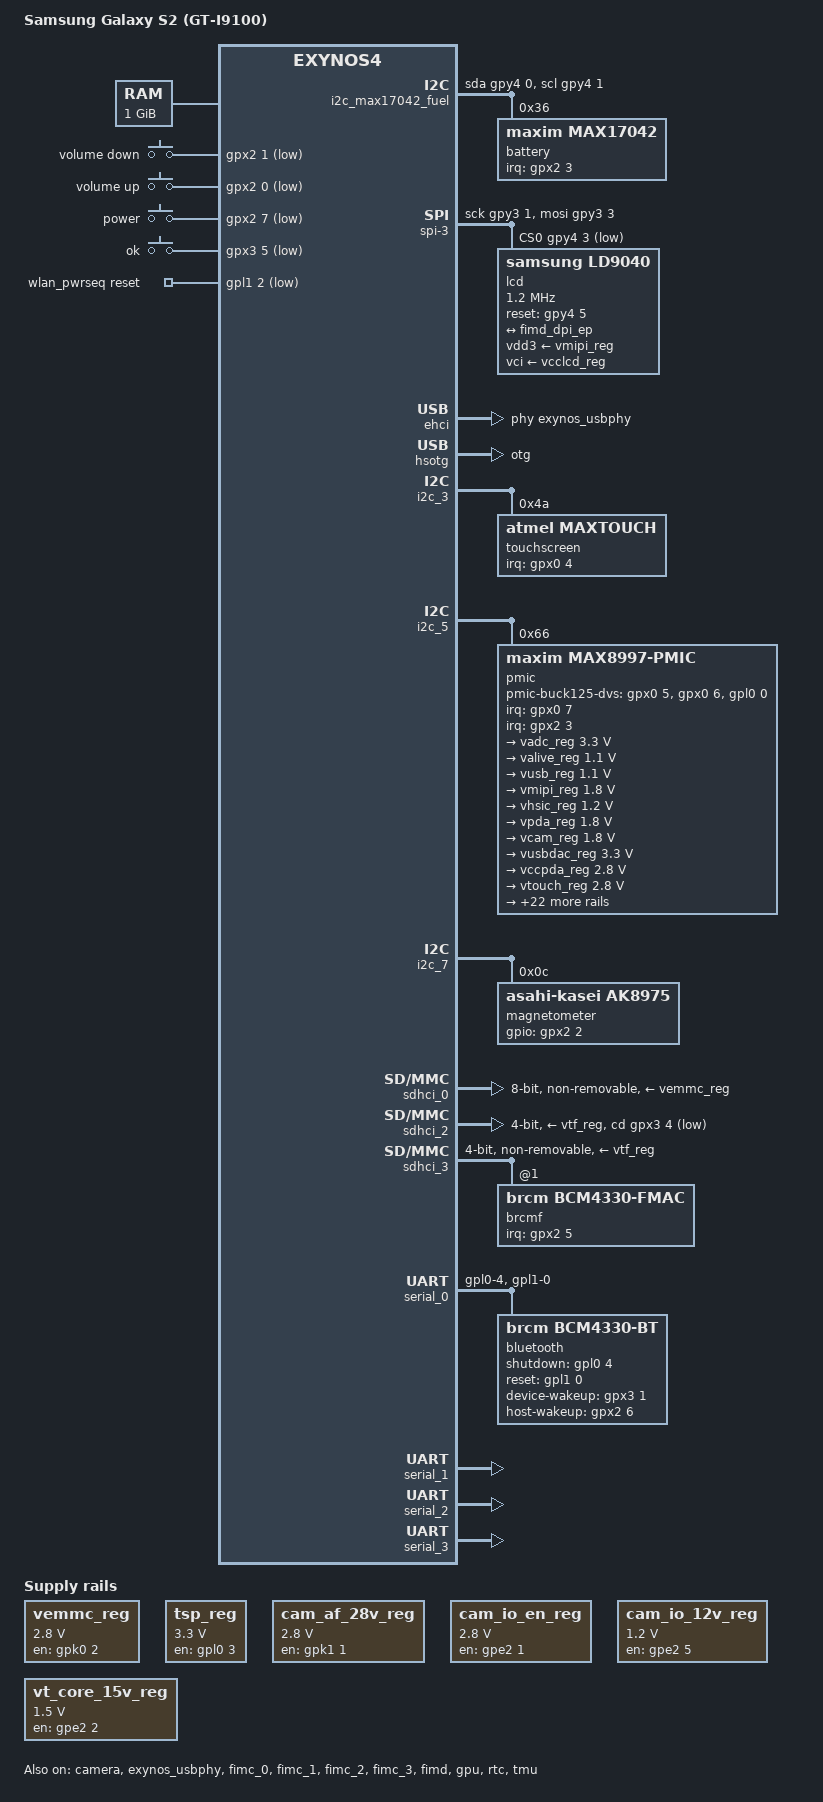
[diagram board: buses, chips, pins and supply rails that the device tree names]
// SPDX-License-Identifier: GPL-2.0
/*
 * Samsung's Exynos4210 based Galaxy S2 (GT-I9100 version) device tree
 *
 * Copyright (c) 2012 Samsung Electronics Co., Ltd.
 *		http://www.samsung.com
 * Copyright (c) 2020 Stenkin Evgeniy <stenkinevgeniy@gmail.com>
 * Copyright (c) 2020 Paul Cercueil <paul@crapouillou.net>
 */

/dts-v1/;
#include "exynos4210.dtsi"
#include "exynos4412-ppmu-common.dtsi"

#include <dt-bindings/gpio/gpio.h>
#include <dt-bindings/input/linux-event-codes.h>

/ {
	model = "Samsung Galaxy S2 (GT-I9100)";
	compatible = "samsung,i9100", "samsung,exynos4210", "samsung,exynos4";

	memory@40000000 {
		device_type = "memory";
		reg = <0x40000000 0x40000000>;
	};

	chosen {
		stdout-path = "serial2:115200n8";
	};

	vemmc_reg: regulator-0 {
		compatible = "regulator-fixed";
		regulator-name = "VMEM_VDD_2.8V";
		regulator-min-microvolt = <2800000>;
		regulator-max-microvolt = <2800000>;
		gpio = <&gpk0 2 GPIO_ACTIVE_HIGH>;
		enable-active-high;
	};

	tsp_reg: regulator-1 {
		compatible = "regulator-fixed";
		regulator-name = "TSP_FIXED_VOLTAGES";
		regulator-min-microvolt = <3300000>;
		regulator-max-microvolt = <3300000>;
		gpio = <&gpl0 3 GPIO_ACTIVE_HIGH>;
		startup-delay-us = <70000>;
		enable-active-high;
		regulator-boot-on;
		regulator-always-on;
	};

	cam_af_28v_reg: regulator-2 {
		compatible = "regulator-fixed";
		regulator-name = "8M_AF_2.8V_EN";
		regulator-min-microvolt = <2800000>;
		regulator-max-microvolt = <2800000>;
		gpio = <&gpk1 1 GPIO_ACTIVE_HIGH>;
		enable-active-high;
	};

	cam_io_en_reg: regulator-3 {
		compatible = "regulator-fixed";
		regulator-name = "CAM_IO_EN";
		regulator-min-microvolt = <2800000>;
		regulator-max-microvolt = <2800000>;
		gpio = <&gpe2 1 GPIO_ACTIVE_HIGH>;
		enable-active-high;
	};

	cam_io_12v_reg: regulator-4 {
		compatible = "regulator-fixed";
		regulator-name = "8M_1.2V_EN";
		regulator-min-microvolt = <1200000>;
		regulator-max-microvolt = <1200000>;
		gpio = <&gpe2 5 GPIO_ACTIVE_HIGH>;
		enable-active-high;
	};

	vt_core_15v_reg: regulator-5 {
		compatible = "regulator-fixed";
		regulator-name = "VT_CORE_1.5V";
		regulator-min-microvolt = <1500000>;
		regulator-max-microvolt = <1500000>;
		gpio = <&gpe2 2 GPIO_ACTIVE_HIGH>;
		enable-active-high;
	};

	gpio-keys {
		compatible = "gpio-keys";

		vol-down {
			gpios = <&gpx2 1 GPIO_ACTIVE_LOW>;
			linux,code = <KEY_VOLUMEDOWN>;
			label = "volume down";
			debounce-interval = <10>;
		};

		vol-up {
			gpios = <&gpx2 0 GPIO_ACTIVE_LOW>;
			linux,code = <KEY_VOLUMEUP>;
			label = "volume up";
			debounce-interval = <10>;
		};

		power {
			gpios = <&gpx2 7 GPIO_ACTIVE_LOW>;
			linux,code = <KEY_POWER>;
			label = "power";
			debounce-interval = <10>;
			wakeup-source;
		};

		ok {
			gpios = <&gpx3 5 GPIO_ACTIVE_LOW>;
			linux,code = <KEY_OK>;
			label = "ok";
			debounce-interval = <10>;
		};
	};

	wlan_pwrseq: sdhci3-pwrseq {
		compatible = "mmc-pwrseq-simple";
		reset-gpios = <&gpl1 2 GPIO_ACTIVE_LOW>;
	};

	i2c_max17042_fuel: i2c-gpio-0 {
		compatible = "i2c-gpio";
		#address-cells = <1>;
		#size-cells = <0>;

		sda-gpios = <&gpy4 0 (GPIO_ACTIVE_HIGH | GPIO_OPEN_DRAIN)>;
		scl-gpios = <&gpy4 1 (GPIO_ACTIVE_HIGH | GPIO_OPEN_DRAIN)>;
		i2c-gpio,delay-us = <5>;

		battery@36 {
			compatible = "maxim,max17042";

			interrupt-parent = <&gpx2>;
			interrupts = <3 IRQ_TYPE_EDGE_FALLING>;

			pinctrl-0 = <&max17042_fuel_irq>;
			pinctrl-names = "default";

			reg = <0x36>;
			maxim,over-heat-temp = <700>;
			maxim,over-volt = <4500>;
		};
	};

	spi-3 {
		compatible = "spi-gpio";
		#address-cells = <1>;
		#size-cells = <0>;

		num-chipselects = <1>;
		cs-gpios = <&gpy4 3 GPIO_ACTIVE_LOW>;
		sck-gpios = <&gpy3 1 GPIO_ACTIVE_HIGH>;
		mosi-gpios = <&gpy3 3 GPIO_ACTIVE_HIGH>;

		lcd@0 {
			compatible = "samsung,ld9040";
			reg = <0>;

			spi-max-frequency = <1200000>;

			vdd3-supply = <&vmipi_reg>;
			vci-supply = <&vcclcd_reg>;

			reset-gpios = <&gpy4 5 GPIO_ACTIVE_HIGH>;
			power-on-delay = <10>;
			reset-delay = <10>;

			panel-width-mm = <90>;
			panel-height-mm = <154>;

			display-timings {
				timing {
					clock-frequency = <23492370>;
					hactive = <480>;
					vactive = <800>;
					hback-porch = <16>;
					hfront-porch = <16>;
					vback-porch = <2>;
					vfront-porch = <28>;
					hsync-len = <2>;
					vsync-len = <1>;
					hsync-active = <0>;
					vsync-active = <0>;
					de-active = <0>;
					pixelclk-active = <0>;
				};
			};

			port {
				lcd_ep: endpoint {
					remote-endpoint = <&fimd_dpi_ep>;
				};
			};
		};
	};

	fixed-rate-clocks {
		xxti {
			compatible = "samsung,clock-xxti";
			clock-frequency = <0>;
		};

		xusbxti {
			compatible = "samsung,clock-xusbxti";
			clock-frequency = <24000000>;
		};

		pmic_ap_clk: pmic-ap-clk {
			/* Workaround for missing clock on max8997 PMIC */
			compatible = "fixed-clock";
			#clock-cells = <0>;
			clock-frequency = <32768>;
		};
	};
};

&camera {
	status = "okay";
};

&cpu0 {
	cpu0-supply = <&varm_breg>;
};

&cpu_thermal {
	cooling-maps {
		map0 {
			/* Corresponds to 800MHz */
			cooling-device = <&cpu0 2 2>;
		};
		map1 {
			/* Corresponds to 200MHz */
			cooling-device = <&cpu0 4 4>;
		};
	};
};

&ehci {
	status = "okay";

	phys = <&exynos_usbphy 1>;
	phy-names = "host";
};

&exynos_usbphy {
	status = "okay";

	vbus-supply = <&safe1_sreg>;
};

&fimc_0 {
	status = "okay";

	assigned-clocks = <&clock CLK_MOUT_FIMC0>, <&clock CLK_SCLK_FIMC0>;
	assigned-clock-parents = <&clock CLK_SCLK_MPLL>;
	assigned-clock-rates = <0>, <160000000>;
};

&fimc_1 {
	status = "okay";

	assigned-clocks = <&clock CLK_MOUT_FIMC1>, <&clock CLK_SCLK_FIMC1>;
	assigned-clock-parents = <&clock CLK_SCLK_MPLL>;
	assigned-clock-rates = <0>, <160000000>;
};

&fimc_2 {
	status = "okay";

	assigned-clocks = <&clock CLK_MOUT_FIMC2>, <&clock CLK_SCLK_FIMC2>;
	assigned-clock-parents = <&clock CLK_SCLK_MPLL>;
	assigned-clock-rates = <0>, <160000000>;
};

&fimc_3 {
	status = "okay";

	assigned-clocks = <&clock CLK_MOUT_FIMC3>, <&clock CLK_SCLK_FIMC3>;
	assigned-clock-parents = <&clock CLK_SCLK_MPLL>;
	assigned-clock-rates = <0>, <160000000>;
};

&fimd {
	status = "okay";
	#address-cells = <1>;
	#size-cells = <0>;

	samsung,invert-vden;
	samsung,invert-vclk;

	pinctrl-0 = <&lcd_clk>, <&lcd_data24>;
	pinctrl-names = "default";

	port@3 {
		reg = <3>;

		fimd_dpi_ep: endpoint {
			remote-endpoint = <&lcd_ep>;
		};
	};
};

&gpu {
	status = "okay";

	mali-supply = <&vg3d_breg>;
};

&hsotg {
	status = "okay";

	dr_mode = "otg";
	vusb_d-supply = <&vusb_reg>;
	vusb_a-supply = <&vusbdac_reg>;
};

&i2c_3 {
	status = "okay";

	samsung,i2c-sda-delay = <100>;
	samsung,i2c-slave-addr = <0x10>;
	samsung,i2c-max-bus-freq = <100000>;

	pinctrl-0 = <&i2c3_bus>;
	pinctrl-names = "default";

	touchscreen@4a {
		compatible = "atmel,maxtouch";
		reg = <0x4a>;

		interrupt-parent = <&gpx0>;
		interrupts = <4 IRQ_TYPE_EDGE_FALLING>;
	};
};

&i2c_5 {
	status = "okay";

	samsung,i2c-sda-delay = <100>;
	samsung,i2c-slave-addr = <0x10>;
	samsung,i2c-max-bus-freq = <100000>;

	pinctrl-0 = <&i2c5_bus>;
	pinctrl-names = "default";

	pmic@66 {
		compatible = "maxim,max8997-pmic";
		reg = <0x66>;

		interrupts-extended = <&gpx0 7 IRQ_TYPE_NONE>,
				      <&gpx2 3 IRQ_TYPE_EDGE_FALLING>;

		max8997,pmic-buck1-uses-gpio-dvs;
		max8997,pmic-buck2-uses-gpio-dvs;
		max8997,pmic-buck5-uses-gpio-dvs;

		max8997,pmic-ignore-gpiodvs-side-effect;
		max8997,pmic-buck125-default-dvs-idx = <0>;

		max8997,pmic-buck125-dvs-gpios = <&gpx0 5 GPIO_ACTIVE_HIGH>,
						 <&gpx0 6 GPIO_ACTIVE_HIGH>,
						 <&gpl0 0 GPIO_ACTIVE_HIGH>;

		max8997,pmic-buck1-dvs-voltage = <1350000>, <1300000>,
						 <1250000>, <1200000>,
						 <1150000>, <1100000>,
						 <1000000>, <950000>;

		max8997,pmic-buck2-dvs-voltage = <1100000>, <1000000>,
						 <950000>,  <900000>,
						 <1100000>, <1000000>,
						 <950000>,  <900000>;

		max8997,pmic-buck5-dvs-voltage = <1200000>, <1200000>,
						 <1200000>, <1200000>,
						 <1200000>, <1200000>,
						 <1200000>, <1200000>;

		pinctrl-0 = <&max8997_irq>, <&otg_gp>, <&usb_sel>;
		pinctrl-names = "default";

		regulators {
			vadc_reg: LDO1 {
				regulator-name = "VADC_3.3V_C210";
				regulator-min-microvolt = <3300000>;
				regulator-max-microvolt = <3300000>;
				regulator-always-on;

			};
			valive_reg: LDO2 {
				regulator-name = "VALIVE_1.1V_C210";
				regulator-min-microvolt = <1100000>;
				regulator-max-microvolt = <1100000>;
				regulator-always-on;

			};

			vusb_reg: LDO3 {
				regulator-name = "VUSB_1.1V_C210";
				regulator-min-microvolt = <1100000>;
				regulator-max-microvolt = <1100000>;
			};

			vmipi_reg: LDO4 {
				regulator-name = "VMIPI_1.8V";
				regulator-min-microvolt = <1800000>;
				regulator-max-microvolt = <1800000>;
				regulator-always-on;
			};

			vhsic_reg: LDO5 {
				regulator-name = "VHSIC_1.2V";
				regulator-min-microvolt = <1200000>;
				regulator-max-microvolt = <1200000>;
				regulator-always-on;
			};

			vpda_reg: LDO6 {
				regulator-name = "VCC_1.8V_PDA";
				regulator-min-microvolt = <1800000>;
				regulator-max-microvolt = <1800000>;
				regulator-always-on;
			};

			vcam_reg: LDO7 {
				regulator-name = "CAM_ISP_1.8V";
				regulator-min-microvolt = <1800000>;
				regulator-max-microvolt = <1800000>;
			};

			vusbdac_reg: LDO8 {
				regulator-name = "VUSB+VDAC_3.3V_C210";
				regulator-min-microvolt = <3300000>;
				regulator-max-microvolt = <3300000>;
			};

			vccpda_reg: LDO9 {
				regulator-name = "VCC_2.8V_PDA";
				regulator-min-microvolt = <2800000>;
				regulator-max-microvolt = <2800000>;
				regulator-always-on;
			};

			vtouch_reg: LDO11 {
				regulator-name = "TOUCH_2.8V";
				regulator-min-microvolt = <2800000>;
				regulator-max-microvolt = <2800000>;
				regulator-always-on;
			};

			vpll_reg: LDO10 {
				regulator-name = "VPLL_1.1V";
				regulator-min-microvolt = <1100000>;
				regulator-max-microvolt = <1100000>;
				regulator-always-on;
			};

			vtcam_reg: LDO12 {
				regulator-name = "VT_CAM_1.8V";
				regulator-min-microvolt = <1800000>;
				regulator-max-microvolt = <1800000>;
			};

			vcclcd_reg: LDO13 {
				regulator-name = "VCC_3.0V_LCD";
				regulator-min-microvolt = <3000000>;
				regulator-max-microvolt = <3000000>;
			};

			vmotor_reg: LDO14 {
				regulator-name = "VCC_2.8V_MOTOR";
				regulator-min-microvolt = <2800000>;
				regulator-max-microvolt = <2800000>;
			};

			vled_reg: LDO15 {
				regulator-name = "LED_A_2.8V";
				regulator-min-microvolt = <2800000>;
				regulator-max-microvolt = <2800000>;
			};

			camsensor_reg: LDO16 {
				regulator-name = "CAM_SENSOR_IO_1.8V";
				regulator-min-microvolt = <1800000>;
				regulator-max-microvolt = <1800000>;
			};

			vtf_reg: LDO17 {
				regulator-name = "VTF_2.8V";
				regulator-min-microvolt = <2800000>;
				regulator-max-microvolt = <2800000>;
			};

			vtouchled_reg: LDO18 {
				regulator-name = "TOUCH_LED_3.3V";
				regulator-min-microvolt = <2500000>;
				regulator-max-microvolt = <3300000>;
			};

			vddq_reg: LDO21 {
				regulator-name = "VDDQ_M1M2_1.2V";
				regulator-min-microvolt = <1200000>;
				regulator-max-microvolt = <1200000>;
				regulator-always-on;
			};

			varm_breg: BUCK1 {
				regulator-name = "VARM_1.2V_C210";
				regulator-min-microvolt = <65000>;
				regulator-max-microvolt = <2225000>;
				regulator-always-on;
			};

			vint_breg: BUCK2 {
				regulator-name = "VINT_1.1V_C210";
				regulator-min-microvolt = <65000>;
				regulator-max-microvolt = <2225000>;
				regulator-always-on;
			};

			vg3d_breg: BUCK3 {
				regulator-name = "G3D_1.1V";
				regulator-min-microvolt = <900000>;
				regulator-max-microvolt = <1200000>;
				regulator-microvolt-offset = <50000>;
				regulator-always-on;
			};

			camisp_breg: BUCK4 {
				regulator-name = "CAM_ISP_CORE_1.2V";
				regulator-min-microvolt = <1200000>;
				regulator-max-microvolt = <1200000>;
			};

			vmem_breg: BUCK5 {
				regulator-name = "VMEM_1.2V";
				regulator-min-microvolt = <1200000>;
				regulator-max-microvolt = <1200000>;
				regulator-always-on;
			};

			vccsub_breg: BUCK7 {
				regulator-name = "VCC_SUB_2.0V";
				regulator-min-microvolt = <2000000>;
				regulator-max-microvolt = <2000000>;
				regulator-always-on;
			};

			safe1_sreg: ESAFEOUT1 {
				regulator-name = "SAFEOUT1";
			};

			safe2_sreg: ESAFEOUT2 {
				regulator-name = "SAFEOUT2";
				regulator-boot-on;
			};

			EN32KHZ_AP {
				regulator-name = "EN32KHZ_AP";
				regulator-always-on;
			};

			EN32KHZ_CP {
				regulator-name = "EN32KHZ_CP";
				regulator-always-on;
			};

			charger_reg: CHARGER {
				regulator-name = "CHARGER";
				regulator-min-microamp = <200000>;
				regulator-max-microamp = <950000>;
			};

			chargercv_reg: CHARGER_CV {
				regulator-name = "CHARGER_CV";
				regulator-min-microvolt = <4200000>;
				regulator-max-microvolt = <4200000>;
				regulator-always-on;
			};

			CHARGER_TOPOFF {
				regulator-name = "CHARGER_TOPOFF";
				regulator-min-microamp = <200000>;
				regulator-max-microamp = <200000>;
				regulator-always-on;
			};
		};
	};
};

&i2c_7 {
	status = "okay";

	samsung,i2c-sda-delay = <100>;
	samsung,i2c-slave-addr = <0x10>;
	samsung,i2c-max-bus-freq = <400000>;

	pinctrl-0 = <&i2c7_bus>;
	pinctrl-names = "default";

	magnetometer@c {
		compatible = "asahi-kasei,ak8975";
		reg = <0x0c>;

		gpios = <&gpx2 2 GPIO_ACTIVE_HIGH>;
	};
};

&pinctrl_0 {
	pinctrl-names = "default";
	pinctrl-0 = <&sleep0>;

	sleep0: sleep-states {
		gpa0-0 {
			samsung,pins = "gpa0-0";
			samsung,pin-con-pdn = <EXYNOS_PIN_PDN_INPUT>;
			samsung,pin-pud-pdn = <EXYNOS_PIN_PULL_NONE>;
		};

		gpa0-1 {
			samsung,pins = "gpa0-1";
			samsung,pin-con-pdn = <EXYNOS_PIN_PDN_OUT0>;
			samsung,pin-pud-pdn = <EXYNOS_PIN_PULL_NONE>;
		};

		gpa0-2 {
			samsung,pins = "gpa0-2";
			samsung,pin-con-pdn = <EXYNOS_PIN_PDN_INPUT>;
			samsung,pin-pud-pdn = <EXYNOS_PIN_PULL_NONE>;
		};

		gpa0-3 {
			samsung,pins = "gpa0-3";
			samsung,pin-con-pdn = <EXYNOS_PIN_PDN_OUT1>;
			samsung,pin-pud-pdn = <EXYNOS_PIN_PULL_NONE>;
		};
	};
};

&pinctrl_1 {
	mhl_int: mhl-int {
		samsung,pins = "gpf3-5";
		samsung,pin-pud = <EXYNOS_PIN_PULL_NONE>;
	};

	i2c_mhl_bus: i2c-mhl-bus {
		samsung,pins = "gpf0-4", "gpf0-6";
		samsung,pin-function = <EXYNOS_PIN_FUNC_2>;
		samsung,pin-pud = <EXYNOS_PIN_PULL_DOWN>;
		samsung,pin-drv = <EXYNOS4_PIN_DRV_LV1>;
	};

	usb_sel: usb-sel {
		samsung,pins = "gpl0-6";
		samsung,pin-function = <EXYNOS_PIN_FUNC_OUTPUT>;
		samsung,pin-pud = <EXYNOS_PIN_PULL_NONE>;
		samsung,pin-drv = <EXYNOS4_PIN_DRV_LV1>;
		samsung,pin-val = <0>;
	};

	bt_en: bt-en {
		samsung,pins = "gpl0-4";
		samsung,pin-function = <EXYNOS_PIN_FUNC_OUTPUT>;
		samsung,pin-pud = <EXYNOS_PIN_PULL_NONE>;
		samsung,pin-drv = <EXYNOS4_PIN_DRV_LV4>;
		samsung,pin-val = <0>;
	};

	bt_res: bt-res {
		samsung,pins = "gpl1-0";
		samsung,pin-function = <EXYNOS_PIN_FUNC_OUTPUT>;
		samsung,pin-pud = <EXYNOS_PIN_PULL_NONE>;
		samsung,pin-drv = <EXYNOS4_PIN_DRV_LV4>;
		samsung,pin-val = <0>;
	};

	otg_gp: otg-gp {
		samsung,pins = "gpx3-3";
		samsung,pin-function = <EXYNOS_PIN_FUNC_OUTPUT>;
		samsung,pin-pud = <EXYNOS_PIN_PULL_NONE>;
		samsung,pin-drv = <EXYNOS4_PIN_DRV_LV1>;
		samsung,pin-val = <0>;
	};

	mag_mhl_gpio: mag-mhl {
		samsung,pins = "gpd0-2";
		samsung,pin-function = <EXYNOS_PIN_FUNC_3>;
		samsung,pin-pud = <EXYNOS_PIN_PULL_NONE>;
	};

	max8997_irq: max8997-irq {
		samsung,pins = "gpx0-7";
		samsung,pin-pud = <EXYNOS_PIN_PULL_NONE>;
	};

	max17042_fuel_irq: max17042-fuel-irq {
		samsung,pins = "gpx2-3";
		samsung,pin-pud = <EXYNOS_PIN_PULL_NONE>;
	};

	tsp224_irq: tsp224-irq {
		samsung,pins = "gpx0-4";
		samsung,pin-pud = <EXYNOS_PIN_PULL_UP>;
	};
};

&rtc {
	status = "okay";
	clocks = <&clock CLK_RTC>, <&pmic_ap_clk>;
	clock-names = "rtc", "rtc_src";
};

&sdhci_0 {
	status = "okay";

	bus-width = <8>;
	non-removable;
	vmmc-supply = <&vemmc_reg>;

	pinctrl-0 = <&sd0_clk>, <&sd0_cmd>, <&sd0_bus8>;
	pinctrl-names = "default";
};

&sdhci_2 {
	status = "okay";

	bus-width = <4>;
	cd-gpios = <&gpx3 4 GPIO_ACTIVE_LOW>;
	vmmc-supply = <&vtf_reg>;

	pinctrl-0 = <&sd2_clk>, <&sd2_cmd>, <&sd2_bus4>;
	pinctrl-names = "default";
};

&sdhci_3 {
	status = "okay";

	#address-cells = <1>;
	#size-cells = <0>;

	non-removable;
	bus-width = <4>;
	mmc-pwrseq = <&wlan_pwrseq>;
	vmmc-supply = <&vtf_reg>;

	pinctrl-names = "default";
	pinctrl-0 = <&sd3_clk>, <&sd3_cmd>, <&sd3_bus4>;

	brcmf: wifi@1 {
		compatible = "brcm,bcm4330-fmac";
		reg = <1>;

		interrupt-parent = <&gpx2>;
		interrupts = <5 IRQ_TYPE_LEVEL_HIGH>;
		interrupt-names = "host-wake";
	};
};

&serial_0 {
	status = "okay";

	pinctrl-names = "default";
	pinctrl-0 = <&bt_en>, <&bt_res>, <&uart0_data>, <&uart0_fctl>;

	bluetooth {
		compatible = "brcm,bcm4330-bt";

		shutdown-gpios = <&gpl0 4 GPIO_ACTIVE_HIGH>;
		reset-gpios = <&gpl1 0 GPIO_ACTIVE_HIGH>;
		device-wakeup-gpios = <&gpx3 1 GPIO_ACTIVE_HIGH>;
		host-wakeup-gpios = <&gpx2 6 GPIO_ACTIVE_HIGH>;
	};
};

&serial_1 {
	status = "okay";
};

&serial_2 {
	status = "okay";
};

&serial_3 {
	status = "okay";
};

&tmu {
	status = "okay";
};
